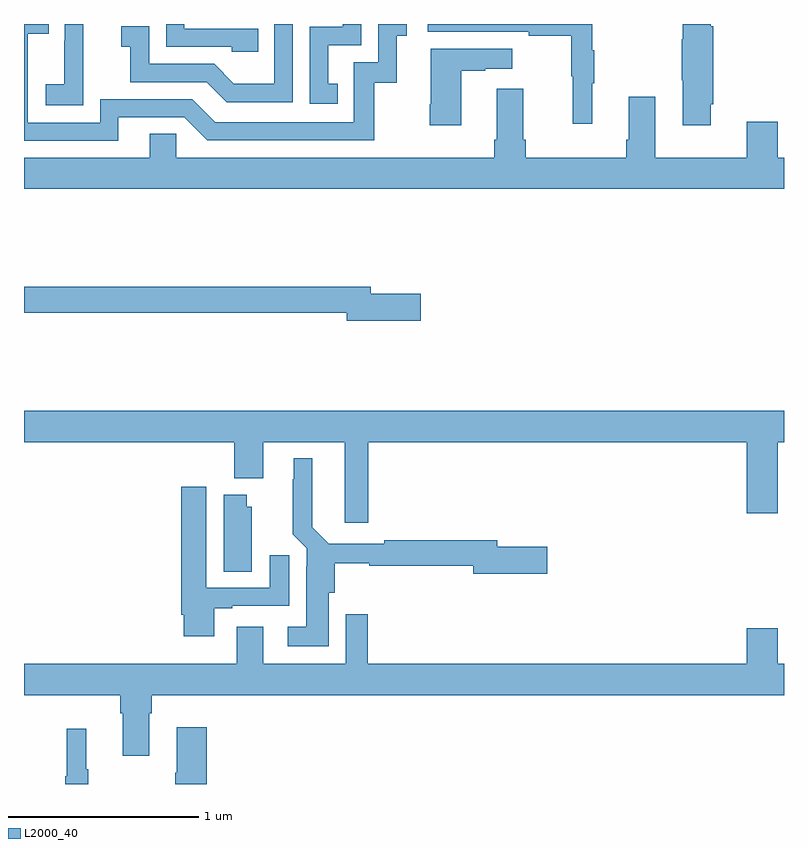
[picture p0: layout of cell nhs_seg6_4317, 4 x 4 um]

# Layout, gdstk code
import gdstk
lib = gdstk.Library(unit=1e-6, precision=1e-09)
def P(c, l, *ps):  # polygons
    for p in ps: c.add(gdstk.Polygon(p, *l))
L2000_40 = (2000, 40)

nhs_seg6_4317 = lib.new_cell('nhs_seg6_4317')
P(nhs_seg6_4317, L2000_40, [(366.233,985.476),(365.844,985.476),(365.844,985.5),(365.748,985.5),(365.748,985.38),(366.093,985.38),(366.093,985.353),(366.233,985.353)],
  [(365.313,985.279),(365.312,985.279),(365.312,985.5),(365.214,985.5),(365.214,985.412),(365.213,985.412),(365.213,985.183),(365.115,985.183),(365.115,985.073),(365.313,985.073)],
  [(367.991,985.187),(368.002,985.187),(368.002,985.361),(367.991,985.361),(367.991,985.5),(367.125,985.5),(367.125,985.458),(367.657,985.458),(367.657,985.438),(367.881,985.438),(367.881,985.224),(367.888,985.224),(367.888,984.975),(367.991,984.975)],
  [(366.65,985.185),(366.601,985.185),(366.601,985.389),(366.774,985.389),(366.774,985.5),(366.678,985.5),(366.678,985.485),(366.504,985.485),(366.504,985.08),(366.65,985.08)],
  [(365.497,985.008),(365.844,985.008),(365.964,984.888),(366.844,984.888),(366.844,985.191),(366.962,985.191),(366.962,985.437),(367.015,985.437),(367.015,985.5),(366.864,985.5),(366.864,985.299),(366.735,985.299),(366.735,984.984),(366.006,984.984),(365.886,985.104),(365.4,985.104),(365.4,984.981),(365.019,984.981),(365.019,985.45),(365.129,985.45),(365.129,985.5),(365,985.5),(365,984.885),(365.497,984.885)],
  [(366.414,985.5),(366.318,985.5),(366.318,985.186),(366.104,985.186),(366,985.29),(365.658,985.29),(365.658,985.489),(365.511,985.489),(365.511,985.379),(365.56,985.379),(365.56,985.194),(365.963,985.194),(366.068,985.089),(366.414,985.089)],
  [(368.614,985.078),(368.627,985.078),(368.627,985.488),(368.614,985.488),(368.614,985.5),(368.468,985.5),(368.468,985.421),(368.461,985.421),(368.461,985.204),(368.468,985.204),(368.468,984.966),(368.614,984.966)],
  [(367.3,985.255),(367.427,985.255),(367.427,985.265),(367.57,985.265),(367.57,985.369),(367.142,985.369),(367.142,985.078),(367.135,985.078),(367.135,984.966),(367.3,984.966)],
  [(369,984.796),(368.968,984.796),(368.968,984.985),(368.804,984.985),(368.804,984.796),(368.323,984.796),(368.323,985.117),(368.183,985.117),(368.183,984.892),(368.171,984.892),(368.171,984.796),(367.64,984.796),(367.64,984.892),(367.627,984.892),(367.627,985.159),(367.487,985.159),(367.487,984.892),(367.475,984.892),(367.475,984.796),(365.802,984.796),(365.802,984.923),(365.663,984.923),(365.663,984.796),(365,984.796),(365,984.632),(369,984.632)],
  [(367.087,984.08),(366.826,984.08),(366.826,984.116),(365,984.116),(365,983.98),(366.698,983.98),(366.698,983.938),(367.087,983.938)],
  [(366.812,983.3),(368.804,983.3),(368.804,982.926),(368.968,982.926),(368.968,983.3),(369,983.3),(369,983.464),(365,983.464),(365,983.3),(366.107,983.3),(366.107,983.108),(366.259,983.108),(366.259,983.3),(366.689,983.3),(366.689,982.875),(366.812,982.875)],
  [(366.604,982.506),(366.635,982.506),(366.635,982.663),(366.818,982.663),(366.818,982.648),(367.364,982.648),(367.364,982.606),(367.753,982.606),(367.753,982.748),(367.492,982.748),(367.492,982.784),(366.895,982.784),(366.895,982.764),(366.604,982.764),(366.517,982.852),(366.517,983.215),(366.419,983.215),(366.419,983.105),(366.415,983.105),(366.415,982.814),(366.489,982.74),(366.489,982.646),(366.485,982.646),(366.485,982.327),(366.387,982.327),(366.387,982.226),(366.604,982.226)],
  [(366.001,982.425),(366.097,982.425),(366.097,982.437),(366.397,982.437),(366.397,982.705),(366.293,982.705),(366.293,982.533),(365.959,982.533),(365.959,983.065),(365.828,983.065),(365.828,982.39),(365.84,982.39),(365.84,982.278),(366.001,982.278)],
  [(366.199,982.959),(366.172,982.959),(366.172,983.023),(366.05,983.023),(366.05,982.618),(366.199,982.618)],
  [(365.659,981.872),(365.672,981.872),(365.672,981.968),(369,981.968),(369,982.132),(368.968,982.132),(368.968,982.321),(368.804,982.321),(368.804,982.132),(366.809,982.132),(366.809,982.393),(366.693,982.393),(366.693,982.132),(366.259,982.132),(366.259,982.327),(366.119,982.327),(366.119,982.132),(365,982.132),(365,981.968),(365.507,981.968),(365.507,981.872),(365.519,981.872),(365.519,981.648),(365.659,981.648)],
  [(365.963,981.799),(365.804,981.799),(365.804,981.56),(365.797,981.56),(365.797,981.5),(365.963,981.5)],
  [(365.338,981.577),(365.327,981.577),(365.327,981.79),(365.224,981.79),(365.224,981.54),(365.217,981.54),(365.217,981.5),(365.338,981.5)])

lib.write_gds('nhs_seg6_4317.gds')
